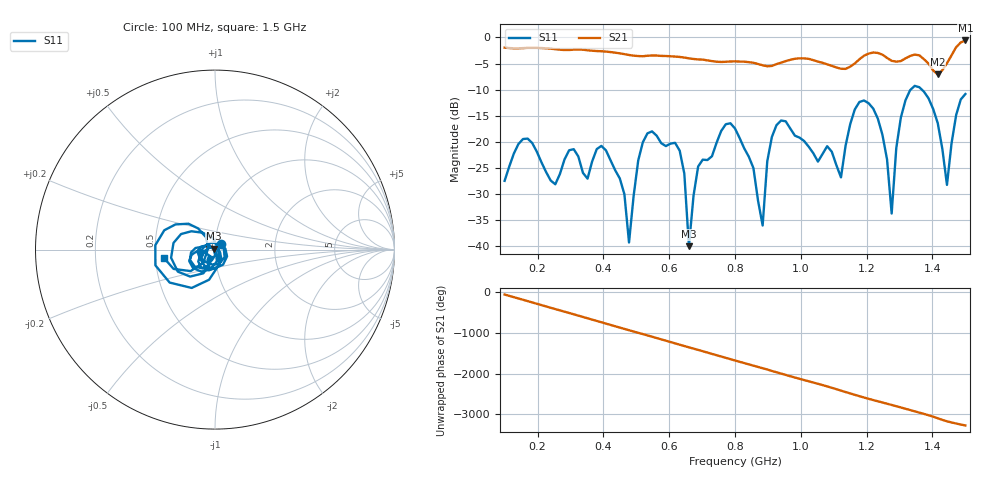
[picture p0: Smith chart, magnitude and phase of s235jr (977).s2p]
! NanoVNA-App
! Date: 2025-09-25 15:11:46
! Start: 100MHz Stop: 1,5GHz Points: 101
! S-Parameter data: F S11 S21 S12 S22
# Hz S RI R 50
!  Frequency  S11_Real  S11_Imag  S21_Real  S21_Imag  S12_Real  S12_Imag  S22_Real  S22_Imag
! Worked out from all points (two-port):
!   101 points, 100 MHz to 1.5 GHz, reference 50 ohm
!   highest |S21| = -0.58 dB at 1.5 GHz (marker M1); lowest = -7.1 dB at 1.416 GHz (marker M2)
!   |S21| within 3 dB of the highest: start of sweep to 511.8 MHz; 523.2 MHz to 596.4 MHz (73.19 MHz wide, 13.1 % of centre) (the widest 2 of 5)
!   lowest |S11| = -40.0 dB at 660 MHz (marker M3), VSWR 1.02, Z = 49.2 + j0.562 ohm
!   |S11| at or under -10 dB: start of sweep to 1.334 GHz; 1.368 GHz to end of sweep
!   S12 and S22 are empty: the file has one direction only
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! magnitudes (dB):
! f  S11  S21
! 100 MHz  -27.5  -2.0
! 156 MHz  -19.5  -2.0
! 338 MHz  -25.9  -2.4
! 408 MHz  -21.6  -2.7
! 478 MHz  -39.3  -3.4
! 520 MHz  -20.1  -3.6
! 576 MHz  -20.3  -3.5
! 632 MHz  -21.7  -3.7
! 660 MHz  -40.0  -4.0
! 688 MHz  -24.7  -4.2
! 800 MHz  -17.4  -4.6
! 884 MHz  -36.0  -5.3
! 926 MHz  -16.8  -5.1
! 1.038 GHz  -22.2  -4.4
! 1.122 GHz  -26.8  -6.0
! 1.206 GHz  -12.6  -3.1
! 1.276 GHz  -33.7  -4.5
! 1.29 GHz  -21.2  -4.6
! 1.332 GHz  -10.1  -3.6
! 1.416 GHz  -16.4  -7.1
! 1.444 GHz  -28.2  -5.0
! 1.5 GHz  -10.8  -0.6
